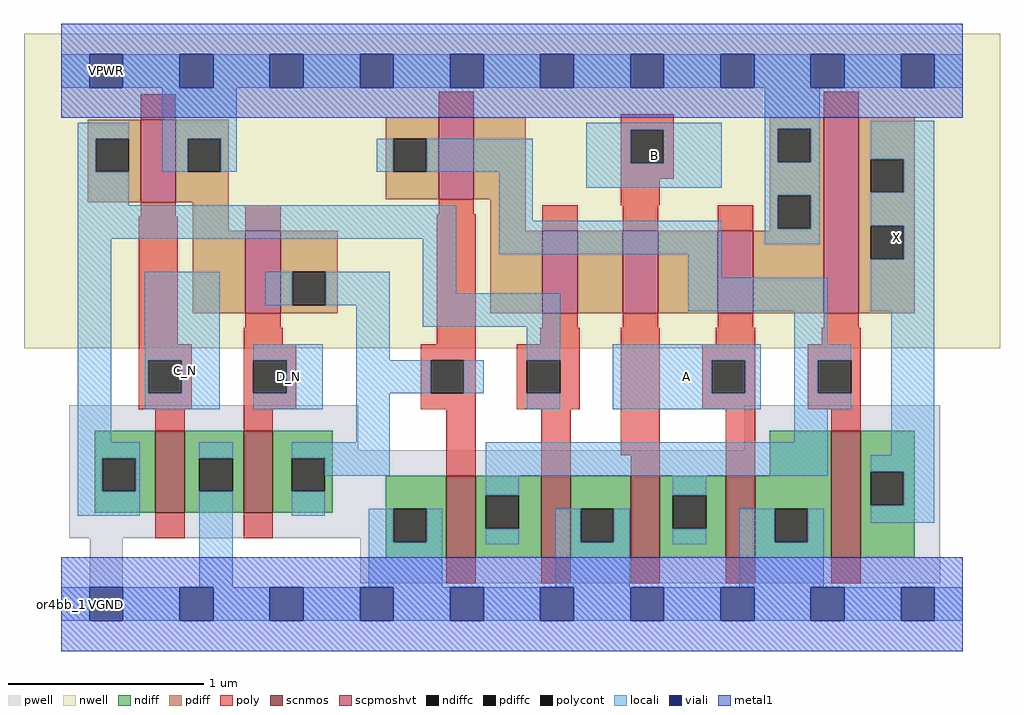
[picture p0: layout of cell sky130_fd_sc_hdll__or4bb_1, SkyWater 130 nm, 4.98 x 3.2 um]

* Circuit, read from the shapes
.subckt sky130_fd_sc_hdll__or4bb_1 A B C_N D_N VGND VNB VPB VPWR X
XM1 VGND C_N n1 VNB sky130_fd_pr__nfet_01v8 w=0.42 l=0.15
XM2 n2 D_N VGND VNB sky130_fd_pr__nfet_01v8 w=0.42 l=0.15
XM3 n3 n2 VGND VNB sky130_fd_pr__nfet_01v8 w=0.42 l=0.15
XM4 VGND n1 n3 VNB sky130_fd_pr__nfet_01v8 w=0.42 l=0.15
XM5 n3 B VGND VNB sky130_fd_pr__nfet_01v8 w=0.42 l=0.15
XM6 VGND A n3 VNB sky130_fd_pr__nfet_01v8 w=0.42 l=0.15
XM7 X n3 VGND VNB sky130_fd_pr__nfet_01v8 w=0.65 l=0.15
XM8 VPWR C_N n1 VPB sky130_fd_pr__pfet_01v8_hvt w=0.42 l=0.18
XM9 n2 D_N VPWR VPB sky130_fd_pr__pfet_01v8_hvt w=0.42 l=0.18
XM10 n4 n2 n3 VPB sky130_fd_pr__pfet_01v8_hvt w=0.42 l=0.18
XM11 n5 n1 n4 VPB sky130_fd_pr__pfet_01v8_hvt w=0.42 l=0.18
XM12 n6 B n5 VPB sky130_fd_pr__pfet_01v8_hvt w=0.42 l=0.18
XM13 VPWR A n6 VPB sky130_fd_pr__pfet_01v8_hvt w=0.42 l=0.18
XM14 X n3 VPWR VPB sky130_fd_pr__pfet_01v8_hvt w=1 l=0.18
.ends

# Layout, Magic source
magic
tech sky130A
magscale 1 2
<< nwell >>
rect -38 261 958 582
<< pwell >>
rect 8 157 303 203
rect 697 157 897 203
rect 8 67 897 157
rect 29 -17 63 67
rect 305 21 897 67
<< scnmos >>
rect 96 93 126 177
rect 186 93 216 177
rect 393 47 423 131
rect 490 47 520 131
rect 581 47 611 131
rect 678 47 708 131
rect 786 47 816 177
<< scpmoshvt >>
rect 81 410 117 494
rect 385 413 421 497
rect 188 297 224 381
rect 491 297 527 381
rect 573 297 609 381
rect 670 297 706 381
rect 778 297 814 497
<< ndiff >>
rect 34 149 96 177
rect 34 115 42 149
rect 76 115 96 149
rect 34 93 96 115
rect 126 149 186 177
rect 126 115 141 149
rect 175 115 186 149
rect 126 93 186 115
rect 216 149 277 177
rect 216 115 235 149
rect 269 115 277 149
rect 723 131 786 177
rect 216 93 277 115
rect 331 97 393 131
rect 331 63 339 97
rect 373 63 393 97
rect 331 47 393 63
rect 423 111 490 131
rect 423 77 433 111
rect 467 77 490 111
rect 423 47 490 77
rect 520 97 581 131
rect 520 63 530 97
rect 564 63 581 97
rect 520 47 581 63
rect 611 111 678 131
rect 611 77 624 111
rect 658 77 678 111
rect 611 47 678 77
rect 708 97 786 131
rect 708 63 728 97
rect 762 63 786 97
rect 708 47 786 63
rect 816 135 871 177
rect 816 101 826 135
rect 860 101 871 135
rect 816 47 871 101
<< pdiff >>
rect 27 475 81 494
rect 27 441 35 475
rect 69 441 81 475
rect 27 410 81 441
rect 117 475 171 494
rect 117 441 129 475
rect 163 441 171 475
rect 117 410 171 441
rect 331 475 385 497
rect 331 441 339 475
rect 373 441 385 475
rect 331 413 385 441
rect 421 413 474 497
rect 134 381 171 410
rect 134 297 188 381
rect 224 339 282 381
rect 224 305 236 339
rect 270 305 282 339
rect 224 297 282 305
rect 438 381 474 413
rect 723 485 778 497
rect 723 451 731 485
rect 765 451 778 485
rect 723 417 778 451
rect 723 383 731 417
rect 765 383 778 417
rect 723 381 778 383
rect 438 297 491 381
rect 527 297 573 381
rect 609 297 670 381
rect 706 297 778 381
rect 814 454 871 497
rect 814 420 826 454
rect 860 420 871 454
rect 814 386 871 420
rect 814 352 826 386
rect 860 352 871 386
rect 814 297 871 352
<< ndiffc >>
rect 42 115 76 149
rect 141 115 175 149
rect 235 115 269 149
rect 339 63 373 97
rect 433 77 467 111
rect 530 63 564 97
rect 624 77 658 111
rect 728 63 762 97
rect 826 101 860 135
<< pdiffc >>
rect 35 441 69 475
rect 129 441 163 475
rect 339 441 373 475
rect 236 305 270 339
rect 731 451 765 485
rect 731 383 765 417
rect 826 420 860 454
rect 826 352 860 386
<< poly >>
rect 81 494 117 520
rect 385 497 421 523
rect 81 395 117 410
rect 79 265 119 395
rect 188 381 224 407
rect 385 398 421 413
rect 188 282 224 297
rect 186 265 226 282
rect 383 265 423 398
rect 571 484 625 500
rect 778 497 814 523
rect 571 450 581 484
rect 615 450 625 484
rect 571 434 625 450
rect 571 407 611 434
rect 491 381 527 407
rect 573 381 609 407
rect 670 381 706 407
rect 491 282 527 297
rect 573 282 609 297
rect 670 282 706 297
rect 778 282 814 297
rect 489 265 529 282
rect 79 249 133 265
rect 79 215 89 249
rect 123 215 133 249
rect 79 199 133 215
rect 186 249 240 265
rect 186 215 196 249
rect 230 215 240 249
rect 186 199 240 215
rect 367 249 423 265
rect 367 215 377 249
rect 411 215 423 249
rect 367 199 423 215
rect 465 249 529 265
rect 465 215 475 249
rect 509 215 529 249
rect 465 199 529 215
rect 96 177 126 199
rect 186 177 216 199
rect 393 131 423 199
rect 490 131 520 199
rect 571 152 611 282
rect 668 265 708 282
rect 776 265 816 282
rect 654 249 708 265
rect 654 215 664 249
rect 698 215 708 249
rect 654 199 708 215
rect 762 249 816 265
rect 762 215 772 249
rect 806 215 816 249
rect 762 199 816 215
rect 581 131 611 152
rect 678 131 708 199
rect 786 177 816 199
rect 96 67 126 93
rect 186 67 216 93
rect 393 21 423 47
rect 490 21 520 47
rect 581 21 611 47
rect 678 21 708 47
rect 786 21 816 47
<< polycont >>
rect 581 450 615 484
rect 89 215 123 249
rect 196 215 230 249
rect 377 215 411 249
rect 475 215 509 249
rect 664 215 698 249
rect 772 215 806 249
<< locali >>
rect 0 527 29 561
rect 63 527 121 561
rect 155 527 213 561
rect 247 527 305 561
rect 339 527 397 561
rect 431 527 489 561
rect 523 527 581 561
rect 615 527 673 561
rect 707 527 765 561
rect 799 527 857 561
rect 891 527 920 561
rect 17 475 69 491
rect 17 441 35 475
rect 103 475 179 527
rect 536 484 674 491
rect 103 441 129 475
rect 163 441 179 475
rect 322 441 339 475
rect 373 441 481 475
rect 17 407 69 441
rect 17 373 403 407
rect 17 165 51 373
rect 85 249 162 339
rect 208 305 236 339
rect 270 305 335 339
rect 85 215 89 249
rect 123 215 162 249
rect 85 199 162 215
rect 196 249 267 265
rect 230 215 267 249
rect 196 199 267 215
rect 301 249 335 305
rect 369 317 403 373
rect 447 391 481 441
rect 536 450 581 484
rect 615 450 674 484
rect 536 425 674 450
rect 718 485 774 527
rect 718 451 731 485
rect 765 451 774 485
rect 718 417 774 451
rect 447 357 674 391
rect 718 383 731 417
rect 765 383 774 417
rect 718 367 774 383
rect 826 454 891 493
rect 860 420 891 454
rect 826 386 891 420
rect 640 333 674 357
rect 860 352 891 386
rect 369 283 509 317
rect 640 299 782 333
rect 826 299 891 352
rect 475 249 509 283
rect 748 265 782 299
rect 301 215 377 249
rect 411 215 431 249
rect 301 165 335 215
rect 475 199 509 215
rect 563 249 714 265
rect 563 215 664 249
rect 698 215 714 249
rect 563 199 714 215
rect 748 249 806 265
rect 748 215 772 249
rect 748 199 806 215
rect 748 165 782 199
rect 17 149 80 165
rect 17 115 42 149
rect 76 115 80 149
rect 17 90 80 115
rect 141 149 175 165
rect 141 17 175 115
rect 235 149 335 165
rect 269 131 335 149
rect 433 131 782 165
rect 847 152 891 299
rect 826 135 891 152
rect 235 90 269 115
rect 433 111 467 131
rect 314 63 339 97
rect 373 63 389 97
rect 314 17 389 63
rect 624 111 658 131
rect 433 61 467 77
rect 504 63 530 97
rect 564 63 580 97
rect 504 17 580 63
rect 860 101 891 135
rect 624 61 658 77
rect 692 63 728 97
rect 762 63 778 97
rect 826 83 891 101
rect 692 17 778 63
rect 0 -17 29 17
rect 63 -17 121 17
rect 155 -17 213 17
rect 247 -17 305 17
rect 339 -17 397 17
rect 431 -17 489 17
rect 523 -17 581 17
rect 615 -17 673 17
rect 707 -17 765 17
rect 799 -17 857 17
rect 891 -17 920 17
<< viali >>
rect 29 527 63 561
rect 121 527 155 561
rect 213 527 247 561
rect 305 527 339 561
rect 397 527 431 561
rect 489 527 523 561
rect 581 527 615 561
rect 673 527 707 561
rect 765 527 799 561
rect 857 527 891 561
rect 29 -17 63 17
rect 121 -17 155 17
rect 213 -17 247 17
rect 305 -17 339 17
rect 397 -17 431 17
rect 489 -17 523 17
rect 581 -17 615 17
rect 673 -17 707 17
rect 765 -17 799 17
rect 857 -17 891 17
<< metal1 >>
rect 0 561 920 592
rect 0 527 29 561
rect 63 527 121 561
rect 155 527 213 561
rect 247 527 305 561
rect 339 527 397 561
rect 431 527 489 561
rect 523 527 581 561
rect 615 527 673 561
rect 707 527 765 561
rect 799 527 857 561
rect 891 527 920 561
rect 0 496 920 527
rect 0 17 920 48
rect 0 -17 29 17
rect 63 -17 121 17
rect 155 -17 213 17
rect 247 -17 305 17
rect 339 -17 397 17
rect 431 -17 489 17
rect 523 -17 581 17
rect 615 -17 673 17
rect 707 -17 765 17
rect 799 -17 857 17
rect 891 -17 920 17
rect 0 -48 920 -17
<< labels >>
flabel locali s 563 199 714 265 0 FreeSans 400 0 0 0 A
port 1 nsew signal input
flabel locali s 835 357 869 391 0 FreeSans 400 0 0 0 X
port 9 nsew signal output
flabel locali s 536 425 674 491 0 FreeSans 400 0 0 0 B
port 2 nsew signal input
flabel locali s 196 199 267 265 0 FreeSans 400 0 0 0 D_N
port 4 nsew signal input
flabel locali s 110 221 144 255 0 FreeSans 400 0 0 0 C_N
port 3 nsew signal input
flabel metal1 s 29 527 63 561 0 FreeSans 200 0 0 0 VPWR
port 8 nsew power bidirectional
flabel metal1 s 29 -17 63 17 0 FreeSans 200 0 0 0 VGND
port 5 nsew ground bidirectional
flabel nwell s 29 527 63 561 0 FreeSans 200 0 0 0 VPB
port 7 nsew power bidirectional
flabel pwell s 29 -17 63 17 0 FreeSans 200 0 0 0 VNB
port 6 nsew ground bidirectional
rlabel comment s 0 0 0 0 4 or4bb_1
<< properties >>
string LEFsite unithd
string LEFclass CORE
string FIXED_BBOX 0 0 920 544
string GDS_FILE $PDKPATH/libs.ref/sky130_fd_sc_hdll/gds/sky130_fd_sc_hdll.gds
string LEFsymmetry X Y R90
string GDS_END 2636330
string GDS_START 2629010
string LEFproperties maskLayoutSubType "abstract" prCellType "standard" originalViewName "layout"
<< end >>
